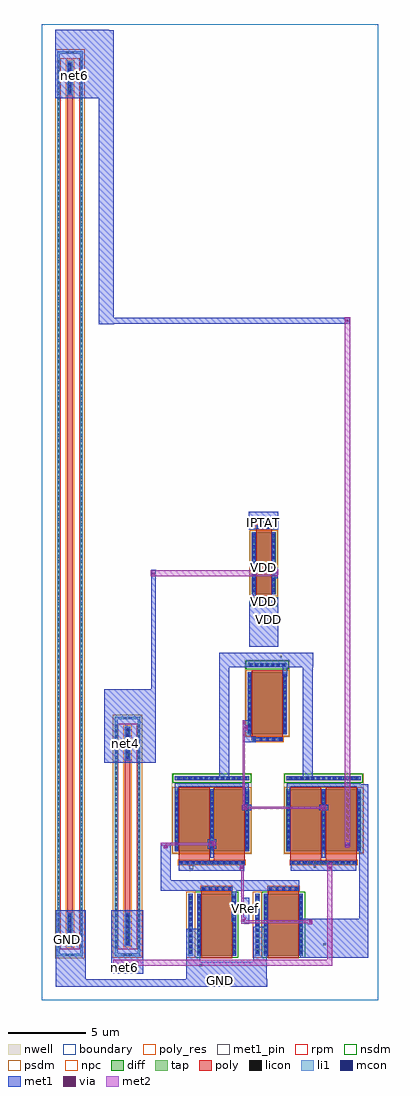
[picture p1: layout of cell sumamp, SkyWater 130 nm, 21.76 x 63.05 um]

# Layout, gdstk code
import gdstk
lib = gdstk.Library(unit=1e-6, precision=1e-09)
def R(c, l, rs):  # rectangles x0, y0, x1, y1
    for r in rs: c.add(gdstk.rectangle(r[:2], r[2:], *l))
def A(c, l, x, y, w, h, nx, ny, dx, dy):  # array of equal rectangles
    R(c, l, [(x+i*dx, y+j*dy, x+i*dx+w, y+j*dy+h) for i in range(nx) for j in range(ny)])
nwell = (64, 20)
diff = (65, 20)
tap = (65, 44)
poly_res = (66, 13)
poly = (66, 20)
licon = (66, 44)
li1 = (67, 20)
mcon = (67, 44)
met1_pin = (68, 16)
met1 = (68, 20)
via = (68, 44)
met2 = (69, 20)
rpm = (86, 20)
nsdm = (93, 44)
psdm = (94, 20)
npc = (95, 20)
boundary = (235, 4)

sky130_fd_pr__res_high_p = lib.new_cell('sky130_fd_pr__res_high_po_0p35_BDB2HS')
R(sky130_fd_pr__res_high_p, tap, [(-0.825,-7.73,0.825,-7.56), (-0.825,-7.56,-0.655,7.56), (0.655,-7.56,0.825,7.56), (-0.825,7.56,0.825,7.73)])
R(sky130_fd_pr__res_high_p, poly_res, [(-0.175,-5,0.175,5)])
R(sky130_fd_pr__res_high_p, poly, [(-0.175,-7.08,0.175,7.08)])
A(sky130_fd_pr__res_high_p, licon, -0.825, -7.225, 0.17, 0.17, 1, 43, 0, 0.34)
A(sky130_fd_pr__res_high_p, licon, 0.655, -7.225, 0.17, 0.17, 1, 43, 0, 0.34)
R(sky130_fd_pr__res_high_p, licon, [(-0.255,-7.73,-0.085,-7.56), (0.085,-7.73,0.255,-7.56), (-0.095,-7,0.095,-5), (-0.095,5,0.095,7), (-0.255,7.56,-0.085,7.73), (0.085,7.56,0.255,7.73)])
R(sky130_fd_pr__res_high_p, li1, [(-0.825,-7.73,0.825,-7.56), (-0.825,-7.56,-0.655,7.56), (0.655,-7.56,0.825,7.56), (-0.175,-7.08,0.175,-4.92), (-0.175,4.92,0.175,7.08), (-0.825,7.56,0.825,7.73)])
A(sky130_fd_pr__res_high_p, mcon, -0.085, -6.985, 0.17, 0.17, 1, 6, 0, 0.36)
A(sky130_fd_pr__res_high_p, mcon, -0.085, 5.01, 0.17, 0.17, 1, 6, 0, 0.36)
R(sky130_fd_pr__res_high_p, met1, [(-0.125,-7.05,0.125,-4.945), (-0.125,4.945,0.125,7.05)])
R(sky130_fd_pr__res_high_p, rpm, [(-0.635,-7.28,0.635,7.28)])
R(sky130_fd_pr__res_high_p, psdm, [(-0.95,-7.855,0.95,7.855)])
R(sky130_fd_pr__res_high_p, npc, [(-0.27,-7.175,0.27,7.175)])
R(sky130_fd_pr__res_high_p, boundary, [(-0.74,-7.645,0.74,7.645)])
sky130_fd_pr__res_high_p.add(gdstk.Label('R2', (0,-6.905), layer=67, texttype=5))
sky130_fd_pr__res_high_p.add(gdstk.Label('R1', (0,6.905), layer=67, texttype=5))
sky130_fd_pr__res_high_p.add(gdstk.Label('B', (0,-7.645), layer=67, texttype=5))

m1m2_c_cdns_778501236214 = lib.new_cell('M1M2_C_CDNS_778501236214')
R(m1m2_c_cdns_778501236214, met1, [(-0.13,-0.16,0.13,0.16)])
R(m1m2_c_cdns_778501236214, via, [(-0.075,-0.075,0.075,0.075)])
R(m1m2_c_cdns_778501236214, met2, [(-0.13,-0.16,0.13,0.16)])

ota = lib.new_cell('ota')
R(ota, nwell, [(1.19,7.905,6.36,13.135), (8.415,7.905,13.585,13.135), (5.915,15.465,8.805,20.455)])
R(ota, diff, [(2.825,1.345,3.09,5.345), (3.09,1.345,5.09,5.345), (5.09,1.345,5.355,5.345), (7.135,1.345,7.4,5.345), (7.4,1.345,9.4,5.345), (9.4,1.345,9.665,5.345), (1.37,8.085,1.635,12.085), (1.635,8.085,3.635,12.085), (3.635,8.085,3.915,12.085), (3.915,8.085,5.915,12.085), (5.915,8.085,6.18,12.085), (8.595,8.085,8.86,12.085), (8.86,8.085,10.86,12.085), (10.86,8.085,11.14,12.085), (11.14,8.085,13.14,12.085), (13.14,8.085,13.405,12.085), (6.095,15.645,6.36,19.645), (6.36,15.645,8.36,19.645), (8.36,15.645,8.625,19.645)])
R(ota, tap, [(2.265,1.345,2.555,5.345), (6.575,1.345,6.865,5.345), (1.37,12.665,6.18,12.955), (8.595,12.665,13.405,12.955), (6.095,19.985,8.625,20.275)])
R(ota, poly, [(3.09,1.195,5.09,1.345), (7.4,1.195,9.4,1.345), (3.09,1.345,5.09,5.345), (7.4,1.345,9.4,5.345), (3.09,5.345,5.09,5.535), (7.4,5.345,9.4,5.535), (3.09,5.535,5.09,5.805), (7.4,5.535,9.4,5.805), (1.635,7.225,5.915,7.495), (8.86,7.225,13.14,7.495), (1.635,7.495,3.635,8.085), (3.915,7.495,5.915,8.085), (8.86,7.495,10.86,8.085), (11.14,7.495,13.14,8.085), (1.635,8.085,3.635,12.085), (3.915,8.085,5.915,12.085), (8.86,8.085,10.86,12.085), (11.14,8.085,13.14,12.085), (1.635,12.085,3.635,12.235), (3.915,12.085,5.915,12.235), (8.86,12.085,10.86,12.235), (11.14,12.085,13.14,12.235), (6.36,15.185,8.36,15.455), (6.36,15.455,8.36,15.645), (6.36,15.645,8.36,19.645), (6.36,19.645,8.36,19.795)])
A(ota, licon, 2.325, 1.56, 0.17, 0.17, 1, 11, 0, 0.34)
A(ota, licon, 2.865, 1.56, 0.17, 0.17, 1, 11, 0, 0.34)
A(ota, licon, 5.145, 1.56, 0.17, 0.17, 1, 11, 0, 0.34)
A(ota, licon, 6.635, 1.56, 0.17, 0.17, 1, 11, 0, 0.34)
A(ota, licon, 7.175, 1.56, 0.17, 0.17, 1, 11, 0, 0.34)
A(ota, licon, 9.455, 1.56, 0.17, 0.17, 1, 11, 0, 0.34)
A(ota, licon, 3.17, 5.585, 0.17, 0.17, 3, 1, 0.42, 0)
A(ota, licon, 7.48, 5.585, 0.17, 0.17, 3, 1, 0.42, 0)
A(ota, licon, 1.715, 7.275, 0.17, 0.17, 10, 1, 0.36, 0)
A(ota, licon, 8.94, 7.275, 0.17, 0.17, 10, 1, 0.36, 0)
A(ota, licon, 1.41, 8.3, 0.17, 0.17, 3, 11, 2.28, 0.34)
A(ota, licon, 8.635, 8.3, 0.17, 0.17, 3, 11, 2.28, 0.34)
A(ota, licon, 1.65, 12.725, 0.17, 0.17, 13, 1, 0.34, 0)
A(ota, licon, 8.875, 12.725, 0.17, 0.17, 13, 1, 0.34, 0)
A(ota, licon, 6.44, 15.235, 0.17, 0.17, 3, 1, 0.42, 0)
A(ota, licon, 6.135, 15.86, 0.17, 0.17, 1, 11, 0, 0.34)
A(ota, licon, 8.415, 15.86, 0.17, 0.17, 1, 11, 0, 0.34)
A(ota, licon, 6.255, 20.045, 0.17, 0.17, 7, 1, 0.34, 0)
R(ota, licon, [(4.425,5.585,4.595,5.755), (4.84,5.585,5.01,5.755), (8.735,5.585,8.905,5.755), (9.15,5.585,9.32,5.755), (5.31,7.275,5.48,7.445), (5.665,7.275,5.835,7.445), (12.535,7.275,12.705,7.445), (12.89,7.275,13.06,7.445), (7.695,15.235,7.865,15.405), (8.11,15.235,8.28,15.405)])
A(ota, li1, 1.41, 8.085, 0.17, 4, 3, 1, 2.28, 0)
A(ota, li1, 8.635, 8.085, 0.17, 4, 3, 1, 2.28, 0)
R(ota, li1, [(2.275,1.345,2.545,5.345), (2.865,1.345,3.035,5.345), (5.145,1.345,5.315,5.345), (6.585,1.345,6.855,5.345), (7.175,1.345,7.345,5.345), (9.455,1.345,9.625,5.345), (3.09,5.555,5.09,5.785), (7.4,5.555,9.4,5.785), (1.635,7.245,5.915,7.475), (8.86,7.245,13.14,7.475), (1.38,12.675,6.17,12.945), (8.605,12.675,13.395,12.945), (6.36,15.205,8.36,15.435), (6.135,15.645,6.305,19.645), (8.415,15.645,8.585,19.645), (6.105,19.995,8.615,20.265)])
A(ota, mcon, 2.325, 1.46, 0.17, 0.17, 1, 11, 0, 0.36)
A(ota, mcon, 2.865, 1.46, 0.17, 0.17, 1, 11, 0, 0.36)
A(ota, mcon, 5.145, 1.46, 0.17, 0.17, 1, 11, 0, 0.36)
A(ota, mcon, 6.635, 1.46, 0.17, 0.17, 1, 11, 0, 0.36)
A(ota, mcon, 7.175, 1.46, 0.17, 0.17, 1, 11, 0, 0.36)
A(ota, mcon, 9.455, 1.46, 0.17, 0.17, 1, 11, 0, 0.36)
A(ota, mcon, 3.17, 5.585, 0.17, 0.17, 3, 1, 0.42, 0)
A(ota, mcon, 7.48, 5.585, 0.17, 0.17, 3, 1, 0.42, 0)
A(ota, mcon, 1.715, 7.275, 0.17, 0.17, 11, 1, 0.395, 0)
A(ota, mcon, 8.94, 7.275, 0.17, 0.17, 11, 1, 0.395, 0)
A(ota, mcon, 1.41, 8.2, 0.17, 0.17, 3, 11, 2.28, 0.36)
A(ota, mcon, 8.635, 8.2, 0.17, 0.17, 3, 11, 2.28, 0.36)
A(ota, mcon, 1.53, 12.725, 0.17, 0.17, 13, 1, 0.36, 0)
A(ota, mcon, 8.755, 12.725, 0.17, 0.17, 13, 1, 0.36, 0)
A(ota, mcon, 6.44, 15.235, 0.17, 0.17, 3, 1, 0.42, 0)
A(ota, mcon, 6.135, 15.76, 0.17, 0.17, 1, 11, 0, 0.36)
A(ota, mcon, 8.415, 15.76, 0.17, 0.17, 1, 11, 0, 0.36)
A(ota, mcon, 6.195, 20.045, 0.17, 0.17, 7, 1, 0.36, 0)
R(ota, mcon, [(4.425,5.585,4.595,5.755), (4.84,5.585,5.01,5.755), (8.735,5.585,8.905,5.755), (9.15,5.585,9.32,5.755), (7.695,15.235,7.865,15.405), (8.11,15.235,8.28,15.405)])
R(ota, met1_pin, [(3.005,0.66,3.145,0.8), (10.99,2.025,11.13,2.165), (2.335,6.93,2.565,7.175), (10.365,7.04,10.505,7.18), (8.185,20.63,8.3,20.725)])
A(ota, met1, 1.38, 8.085, 0.23, 4, 3, 1, 2.28, 0)
A(ota, met1, 8.605, 8.085, 0.23, 4, 3, 1, 2.28, 0)
R(ota, met1, [(2.12,0.215,7.32,0.945), (2.12,0.555,3.02,3.08), (6.455,0.555,7.32,3.22), (9.495,1.215,13.875,3.73), (13.3,1.215,13.875,12.435), (2.275,1.345,2.545,5.345), (2.835,1.345,3.065,5.345), (5.115,1.345,5.345,5.345), (6.585,1.345,6.855,5.345), (7.145,1.345,7.375,5.345), (9.425,1.345,9.655,5.345), (5.075,3.525,5.36,6.08), (3.09,5.535,5.09,5.805), (7.4,5.535,9.4,5.805), (0.485,5.54,1.13,8.645), (0.485,5.54,9.41,6.21), (1.645,6.825,5.885,7.465), (8.88,6.825,13.12,7.465), (1.635,7.225,5.915,7.495), (8.86,7.225,13.14,7.495), (3.66,7.685,3.89,7.915), (10.885,7.685,11.115,7.915), (3.66,7.915,3.89,8.085), (10.885,7.915,11.115,8.085), (3.5,8.26,4.075,8.855), (5.755,10.75,6.33,11.11), (10.72,10.75,11.295,11.11), (1.38,12.085,1.61,12.255), (5.94,12.085,6.17,12.255), (8.605,12.085,8.835,12.255), (13.165,12.085,13.395,12.255), (1.38,12.255,6.17,12.485), (8.605,12.255,13.395,12.485), (1.38,12.675,6.17,12.945), (8.605,12.675,13.395,12.945), (4.245,12.685,4.91,20.905), (9.645,12.69,10.31,20.91), (5.76,15.14,6.605,15.475), (5.76,15.14,6.305,16.565), (6.36,15.185,8.36,15.455), (6.105,15.645,6.335,19.645), (8.385,15.645,8.615,19.645), (8.375,19.415,8.65,20.375), (4.245,19.995,10.335,20.91), (6.105,19.995,8.615,20.265)])
R(ota, met2, [(0.485,8.495,4.075,8.64), (5.76,10.765,5.915,16.565), (5.785,10.83,11.15,10.975)])
R(ota, nsdm, [(2.685,1.215,5.495,5.475), (6.995,1.215,9.805,5.475), (1.24,12.535,6.31,13.085), (8.465,12.535,13.535,13.085), (5.965,19.855,8.755,20.405)])
R(ota, psdm, [(2.125,1.205,2.695,5.485), (6.435,1.205,7.005,5.485), (1.23,7.955,6.32,12.215), (8.455,7.955,13.545,12.215), (5.955,15.515,8.765,19.775)])
R(ota, npc, [(3.04,5.485,5.14,5.855), (7.35,5.485,9.45,5.855), (1.585,7.175,5.965,7.545), (8.81,7.175,13.19,7.545), (6.31,15.135,8.41,15.505)])
ota.add(gdstk.Reference(m1m2_c_cdns_778501236214, (0.795,8.44)))
ota.add(gdstk.Reference(m1m2_c_cdns_778501236214, (5.95,10.93)))
ota.add(gdstk.Reference(m1m2_c_cdns_778501236214, (10.96,10.91)))
ota.add(gdstk.Reference(m1m2_c_cdns_778501236214, (5.96,16.075)))
ota.add(gdstk.Reference(m1m2_c_cdns_778501236214, (3.835,8.595)))
ota.add(gdstk.Label('VDD', (7.36,17.96), layer=64, texttype=20))
ota.add(gdstk.Label('VDD', (3.775,10.52), layer=64, texttype=20))
ota.add(gdstk.Label('VDD', (11,10.52), layer=64, texttype=20))
ota.add(gdstk.Label('V1', (2.45,7.052), layer=68, texttype=16))
ota.add(gdstk.Label('V2', (10.435,7.11), layer=68, texttype=16))
ota.add(gdstk.Label('GND', (3.075,0.73), layer=68, texttype=16))
ota.add(gdstk.Label('Vout', (11.06,2.095), layer=68, texttype=16))
ota.add(gdstk.Label('VDD', (8.242,20.677), layer=68, texttype=16))
ota.add(gdstk.Label('VDD', (7.36,20.13), layer=68, texttype=20))
ota.add(gdstk.Label('net2', (7.36,15.32), layer=68, texttype=20))
ota.add(gdstk.Label('VDD', (8.5,17.645), layer=68, texttype=20))
ota.add(gdstk.Label('net2', (6.22,17.645), layer=68, texttype=20))
ota.add(gdstk.Label('GND', (2.41,3.345), layer=68, texttype=20))
ota.add(gdstk.Label('net8', (4.09,5.67), layer=68, texttype=20))
ota.add(gdstk.Label('net8', (5.23,3.345), layer=68, texttype=20))
ota.add(gdstk.Label('GND', (2.95,3.345), layer=68, texttype=20))
ota.add(gdstk.Label('GND', (6.72,3.345), layer=68, texttype=20))
ota.add(gdstk.Label('net8', (8.4,5.67), layer=68, texttype=20))
ota.add(gdstk.Label('Vout', (9.54,3.345), layer=68, texttype=20))
ota.add(gdstk.Label('GND', (7.26,3.345), layer=68, texttype=20))
ota.add(gdstk.Label('VDD', (3.775,12.81), layer=68, texttype=20))
ota.add(gdstk.Label('V1', (3.775,7.36), layer=68, texttype=20))
ota.add(gdstk.Label('net8', (3.775,7.8), layer=68, texttype=20))
ota.add(gdstk.Label('net8', (3.775,8), layer=68, texttype=20))
ota.add(gdstk.Label('net8', (3.775,10.085), layer=68, texttype=20))
ota.add(gdstk.Label('net2', (3.775,12.37), layer=68, texttype=20))
ota.add(gdstk.Label('net2', (6.055,12.17), layer=68, texttype=20))
ota.add(gdstk.Label('net2', (1.495,12.17), layer=68, texttype=20))
ota.add(gdstk.Label('net2', (6.055,10.085), layer=68, texttype=20))
ota.add(gdstk.Label('net2', (1.495,10.085), layer=68, texttype=20))
ota.add(gdstk.Label('VDD', (11,12.81), layer=68, texttype=20))
ota.add(gdstk.Label('V2', (11,7.36), layer=68, texttype=20))
ota.add(gdstk.Label('net2', (11,7.8), layer=68, texttype=20))
ota.add(gdstk.Label('net2', (11,8), layer=68, texttype=20))
ota.add(gdstk.Label('net2', (11,10.085), layer=68, texttype=20))
ota.add(gdstk.Label('Vout', (11,12.37), layer=68, texttype=20))
ota.add(gdstk.Label('Vout', (13.28,12.17), layer=68, texttype=20))
ota.add(gdstk.Label('Vout', (8.72,12.17), layer=68, texttype=20))
ota.add(gdstk.Label('Vout', (13.28,10.085), layer=68, texttype=20))
ota.add(gdstk.Label('Vout', (8.72,10.085), layer=68, texttype=20))
ota.add(gdstk.Label('net2', (7.36,15.32), layer=67, texttype=20))
ota.add(gdstk.Label('GND', (2.41,3.345), layer=67, texttype=20))
ota.add(gdstk.Label('net8', (4.09,5.67), layer=67, texttype=20))
ota.add(gdstk.Label('GND', (6.72,3.345), layer=67, texttype=20))
ota.add(gdstk.Label('net8', (8.4,5.67), layer=67, texttype=20))
ota.add(gdstk.Label('V1', (3.775,7.36), layer=67, texttype=20))
ota.add(gdstk.Label('V2', (11,7.36), layer=67, texttype=20))
ota.add(gdstk.Label('VDD', (8.492,17.645), layer=65, texttype=20))
ota.add(gdstk.Label('net2', (6.227,17.645), layer=65, texttype=20))
ota.add(gdstk.Label('net8', (5.222,3.345), layer=65, texttype=20))
ota.add(gdstk.Label('GND', (2.957,3.345), layer=65, texttype=20))
ota.add(gdstk.Label('Vout', (9.532,3.345), layer=65, texttype=20))
ota.add(gdstk.Label('GND', (7.267,3.345), layer=65, texttype=20))
ota.add(gdstk.Label('net2', (6.047,10.085), layer=65, texttype=20))
ota.add(gdstk.Label('net2', (1.502,10.085), layer=65, texttype=20))
ota.add(gdstk.Label('Vout', (13.272,10.085), layer=65, texttype=20))
ota.add(gdstk.Label('Vout', (8.727,10.085), layer=65, texttype=20))

c_sky130_fd_pr__res_high_p = lib.new_cell('sky130_fd_pr__res_high_po_0p35_QGWBEH')
R(c_sky130_fd_pr__res_high_p, tap, [(-0.825,-29.23,0.825,-29.06), (-0.825,-29.06,-0.655,29.06), (0.655,-29.06,0.825,29.06), (-0.825,29.06,0.825,29.23)])
R(c_sky130_fd_pr__res_high_p, poly_res, [(-0.175,-26.5,0.175,26.5)])
R(c_sky130_fd_pr__res_high_p, poly, [(-0.175,-28.58,0.175,28.58)])
A(c_sky130_fd_pr__res_high_p, licon, -0.825, -28.645, 0.17, 0.17, 1, 169, 0, 0.34)
A(c_sky130_fd_pr__res_high_p, licon, 0.655, -28.645, 0.17, 0.17, 1, 169, 0, 0.34)
R(c_sky130_fd_pr__res_high_p, licon, [(-0.255,-29.23,-0.085,-29.06), (0.085,-29.23,0.255,-29.06), (-0.095,-28.5,0.095,-26.5), (-0.095,26.5,0.095,28.5), (-0.255,29.06,-0.085,29.23), (0.085,29.06,0.255,29.23)])
R(c_sky130_fd_pr__res_high_p, li1, [(-0.825,-29.23,0.825,-29.06), (-0.825,-29.06,-0.655,29.06), (0.655,-29.06,0.825,29.06), (-0.175,-28.58,0.175,-26.42), (-0.175,26.42,0.175,28.58), (-0.825,29.06,0.825,29.23)])
A(c_sky130_fd_pr__res_high_p, mcon, -0.085, -28.485, 0.17, 0.17, 1, 6, 0, 0.36)
A(c_sky130_fd_pr__res_high_p, mcon, -0.085, 26.51, 0.17, 0.17, 1, 6, 0, 0.36)
R(c_sky130_fd_pr__res_high_p, met1, [(-0.125,-28.55,0.125,-26.445), (-0.125,26.445,0.125,28.55)])
R(c_sky130_fd_pr__res_high_p, rpm, [(-0.635,-28.78,0.635,28.78)])
R(c_sky130_fd_pr__res_high_p, psdm, [(-0.95,-29.355,0.95,29.355)])
R(c_sky130_fd_pr__res_high_p, npc, [(-0.27,-28.675,0.27,28.675)])
R(c_sky130_fd_pr__res_high_p, boundary, [(-0.74,-29.145,0.74,29.145)])
c_sky130_fd_pr__res_high_p.add(gdstk.Label('R2', (0,-28.405), layer=67, texttype=5))
c_sky130_fd_pr__res_high_p.add(gdstk.Label('R1', (0,28.405), layer=67, texttype=5))
c_sky130_fd_pr__res_high_p.add(gdstk.Label('B', (0,-29.145), layer=67, texttype=5))

sumamp = lib.new_cell('sumamp')
R(sumamp, nwell, [(14.04,25.925,15.93,30.915)])
R(sumamp, diff, [(14.22,26.735,14.485,30.735), (14.485,26.735,15.485,30.735), (15.485,26.735,15.75,30.735)])
R(sumamp, tap, [(14.22,26.105,15.75,26.395)])
R(sumamp, poly, [(14.485,26.585,15.485,26.735), (14.485,26.735,15.485,30.735), (14.485,30.735,15.485,30.925), (14.485,30.925,15.485,31.195)])
A(sumamp, licon, 14.39, 26.165, 0.17, 0.17, 4, 1, 0.34, 0)
A(sumamp, licon, 14.26, 26.95, 0.17, 0.17, 1, 11, 0, 0.34)
A(sumamp, licon, 15.54, 26.95, 0.17, 0.17, 1, 11, 0, 0.34)
R(sumamp, licon, [(14.565,30.975,14.735,31.145), (15.235,30.975,15.405,31.145)])
R(sumamp, li1, [(14.23,26.115,15.74,26.385), (14.26,26.735,14.43,30.735), (15.54,26.735,15.71,30.735), (14.485,30.945,15.485,31.175)])
A(sumamp, mcon, 14.36, 26.165, 0.17, 0.17, 4, 1, 0.36, 0)
A(sumamp, mcon, 14.26, 26.85, 0.17, 0.17, 1, 11, 0, 0.36)
A(sumamp, mcon, 15.54, 26.85, 0.17, 0.17, 1, 11, 0, 0.36)
R(sumamp, mcon, [(14.565,30.975,14.735,31.145), (15.235,30.975,15.405,31.145)])
R(sumamp, met1_pin, [(12.145,1.685,12.285,1.825), (13.74,6.325,13.88,6.465), (15.19,25.02,15.33,25.16), (14.91,31.31,15.05,31.45)])
R(sumamp, met1, [(1.585,1.37,15.215,1.865), (1.56,1.375,3.475,6.305), (9.97,1.38,15.175,2.62), (5.12,2.21,7.2,6.32), (13.515,5.445,14.055,7.13), (4.67,15.85,7.99,20.59), (7.715,15.85,8.005,28.295), (14.03,23.345,15.93,26.505), (14.26,26.11,14.46,26.84), (14.23,26.115,15.74,26.385), (14.23,26.735,14.46,30.735), (15.51,26.735,15.74,30.735), (15.625,27.745,15.895,28.43), (14.015,30.92,15.935,32.04), (14.485,30.925,15.485,31.195), (4.335,44.17,5.305,63.15), (4.33,44.19,20.53,44.59), (1.515,58.755,4.955,63.18)])
R(sumamp, met2, [(5.27,2.73,19.4,3.11), (19.1,2.73,19.4,9.39), (13.515,5.45,13.685,9.25), (13.515,5.455,18.095,5.66), (20.205,10.4,20.555,44.62), (7.675,27.895,15.885,28.27)])
R(sumamp, nsdm, [(14.09,25.975,15.88,26.525)])
R(sumamp, psdm, [(14.08,26.605,15.89,30.865)])
R(sumamp, npc, [(14.435,30.875,15.535,31.245)])
R(sumamp, boundary, [(0.63,0.51,22.39,63.56)])
sumamp.add(gdstk.Reference(sky130_fd_pr__res_high_p, (6.19,11.08)))
sumamp.add(gdstk.Reference(ota, (7.85,2.025)))
sumamp.add(gdstk.Reference(c_sky130_fd_pr__res_high_p, (2.46,32.57)))
sumamp.add(gdstk.Reference(m1m2_c_cdns_778501236214, (17.99,5.575)))
sumamp.add(gdstk.Reference(m1m2_c_cdns_778501236214, (13.685,5.65)))
sumamp.add(gdstk.Reference(m1m2_c_cdns_778501236214, (13.565,9.075)))
sumamp.add(gdstk.Reference(m1m2_c_cdns_778501236214, (20.38,10.51)))
sumamp.add(gdstk.Reference(m1m2_c_cdns_778501236214, (20.355,44.39)))
sumamp.add(gdstk.Reference(m1m2_c_cdns_778501236214, (15.805,28.14)))
sumamp.add(gdstk.Reference(m1m2_c_cdns_778501236214, (7.865,28.05)))
sumamp.add(gdstk.Reference(m1m2_c_cdns_778501236214, (6.79,2.93)))
sumamp.add(gdstk.Reference(m1m2_c_cdns_778501236214, (19.26,9.03)))
sumamp.add(gdstk.Label('net4', (6.03,17.06), layer=68, texttype=5))
sumamp.add(gdstk.Label('net6', (2.76,60.24), layer=68, texttype=5))
sumamp.add(gdstk.Label('net6', (6.01,2.58), layer=68, texttype=5))
sumamp.add(gdstk.Label('GND', (2.28,4.43), layer=68, texttype=5))
sumamp.add(gdstk.Label('VDD', (14.985,28.42), layer=64, texttype=20))
sumamp.add(gdstk.Label('IPTAT', (14.98,31.38), layer=68, texttype=16))
sumamp.add(gdstk.Label('VRef', (13.81,6.395), layer=68, texttype=16))
sumamp.add(gdstk.Label('GND', (12.215,1.755), layer=68, texttype=16))
sumamp.add(gdstk.Label('VDD', (15.26,25.09), layer=68, texttype=16))
sumamp.add(gdstk.Label('VDD', (14.985,26.25), layer=68, texttype=20))
sumamp.add(gdstk.Label('IPTAT', (14.985,31.06), layer=68, texttype=20))
sumamp.add(gdstk.Label('net4', (15.625,28.735), layer=68, texttype=20))
sumamp.add(gdstk.Label('VDD', (14.345,28.735), layer=68, texttype=20))
sumamp.add(gdstk.Label('IPTAT', (14.985,31.06), layer=67, texttype=20))
sumamp.add(gdstk.Label('net4', (15.617,28.735), layer=65, texttype=20))
sumamp.add(gdstk.Label('VDD', (14.352,28.735), layer=65, texttype=20))
sumamp.add(gdstk.Label('IPTAT', (14.98,31.38), layer=83, texttype=44))
sumamp.add(gdstk.Label('VRef', (13.81,6.395), layer=83, texttype=44))
sumamp.add(gdstk.Label('GND', (12.215,1.755), layer=83, texttype=44))
sumamp.add(gdstk.Label('VDD', (15.26,25.09), layer=83, texttype=44))

lib.write_gds('sumamp.gds')
